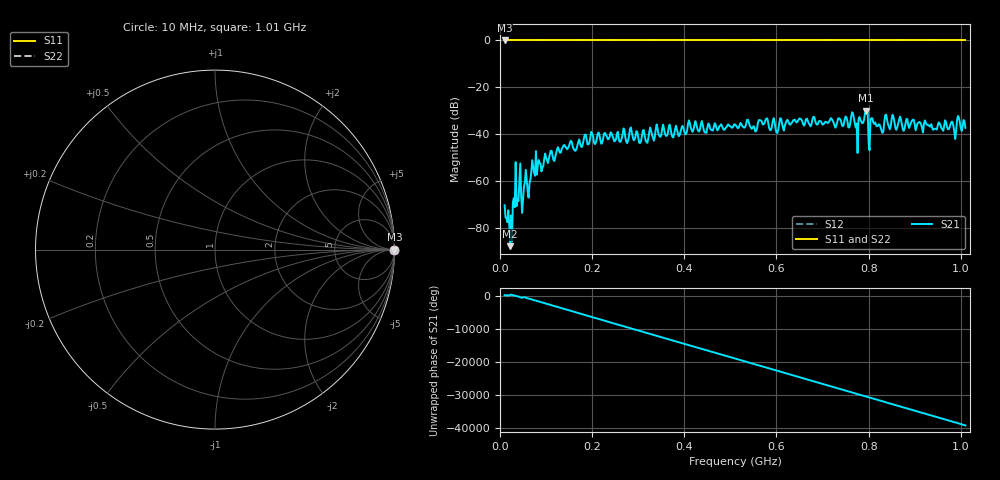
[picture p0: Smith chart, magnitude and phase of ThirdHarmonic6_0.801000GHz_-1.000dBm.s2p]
! 8/16/2025 2:42:57 AM
! C:\ANRITSUVNA\TEMP\TEMP.S2P
! CHANNEL.1
! TR.MEASUREMENT
! RAW.DATA
! RF.CORRECTION.OFF
! AVERAGING.OFF
! IF.BANDWIDTH: 5KHZ
! SWEEPTYPE:  FREQ.SWEEP(Linear)
! Reference Plane Port Info
! PORT:  PORT1  PORT2
! DISTANCE:  0  m  0  m
! TIME:  0  s  0  s
! PHASE.OFFSET:  0  deg.  0  deg.
! LOSS:  0  dB  0  dB
! REF.LOSS:  0  dB  0  dB
! REF.FREQ:  0  Hz  0  Hz
! Power Info
! POWER:  -20  dBm  -20  dBm
! EFF.POWER:  -20  dBm  -20  dBm
! SOURCE.ATTEN:  0  dB  0  dB
! TEST.ATTEN:  0  dB  0  dB
# GHZ S RI R 50.0
! FREQ.GHZ  S11RE  S11IM  S21RE  S21IM  S12RE  S12IM  S22RE  S22IM
!; PortSelection: Port_12
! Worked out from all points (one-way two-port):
!   501 points, 10 MHz to 1.01 GHz, reference 50 ohm
!   highest |S21| = -29.99 dB at 794 MHz (marker M1); lowest = -87.7 dB at 22 MHz (marker M2)
!   lowest |S11| = 0.0 dB at 10 MHz (marker M3)
!   |S11| at or under -10 dB: nowhere
!   |S22| runs from 0.0 to 0.0 dB; largest |S21 - S12| = 1
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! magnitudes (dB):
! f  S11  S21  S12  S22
! 10 MHz  0.0  -70.2  0.0  0.0
! 22 MHz  0.0  -87.7  0.0  0.0
! 32 MHz  0.0  -71.1  0.0  0.0
! 42 MHz  0.0  -60.7  0.0  0.0
! 50 MHz  0.0  -68.0  0.0  0.0
! 56 MHz  0.0  -55.1  0.0  0.0
! 64 MHz  0.0  -61.0  0.0  0.0
! 74 MHz  0.0  -56.3  0.0  0.0
! 178 MHz  0.0  -45.3  0.0  0.0
! 344 MHz  0.0  -39.9  0.0  0.0
! 510 MHz  0.0  -35.8  0.0  0.0
! 554 MHz  0.0  -38.8  0.0  0.0
! 578 MHz  0.0  -33.3  0.0  0.0
! 602 MHz  0.0  -39.4  0.0  0.0
! 678 MHz  0.0  -33.6  0.0  0.0
! 766 MHz  0.0  -31.1  0.0  0.0
! 774 MHz  0.0  -35.4  0.0  0.0
! 794 MHz  0.0  -30.0  0.0  0.0
! 804 MHz  0.0  -33.7  0.0  0.0
! 808 MHz  0.0  -33.2  0.0  0.0
! 844 MHz  0.0  -36.7  0.0  0.0
! 1.01 GHz  0.0  -37.3  0.0  0.0
